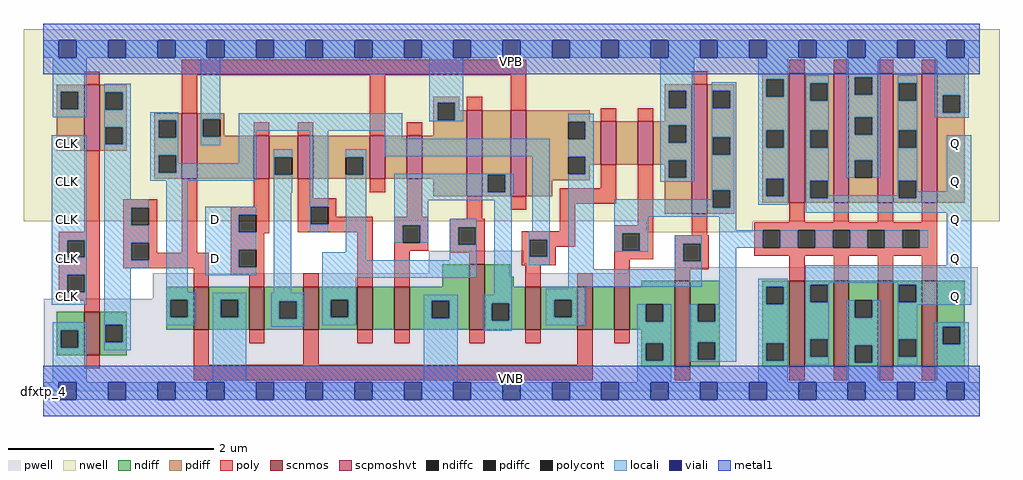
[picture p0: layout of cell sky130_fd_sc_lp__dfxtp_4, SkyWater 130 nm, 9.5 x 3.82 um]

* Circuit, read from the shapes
.subckt sky130_fd_sc_lp__dfxtp_4 CLK D VGND VNB VPB VPWR Q
XM1 n1 CLK VGND VNB sky130_fd_pr__nfet_01v8 w=0.42 l=0.15
XM2 VGND n1 n2 VNB sky130_fd_pr__nfet_01v8 w=0.42 l=0.15
XM3 n3 D VGND VNB sky130_fd_pr__nfet_01v8 w=0.42 l=0.15
XM4 n4 n1 n3 VNB sky130_fd_pr__nfet_01v8 w=0.42 l=0.15
XM5 n5 n2 n4 VNB sky130_fd_pr__nfet_01v8 w=0.42 l=0.15
XM6 VGND n6 n5 VNB sky130_fd_pr__nfet_01v8 w=0.42 l=0.15
XM7 n6 n4 VGND VNB sky130_fd_pr__nfet_01v8 w=0.64 l=0.15
XM8 n7 n2 n6 VNB sky130_fd_pr__nfet_01v8 w=0.42 l=0.15
XM9 n8 n1 n7 VNB sky130_fd_pr__nfet_01v8 w=0.42 l=0.15
XM10 VGND n9 n8 VNB sky130_fd_pr__nfet_01v8 w=0.42 l=0.15
XM11 n9 n7 VGND VNB sky130_fd_pr__nfet_01v8 w=0.84 l=0.15
XM12 Q n9 VGND VNB sky130_fd_pr__nfet_01v8 w=0.84 l=0.15 m=4
XM13 n1 CLK VPWR VPB sky130_fd_pr__pfet_01v8_hvt w=0.64 l=0.15
XM14 VPWR n1 n2 VPB sky130_fd_pr__pfet_01v8_hvt w=0.64 l=0.15
XM15 n3 D VPWR VPB sky130_fd_pr__pfet_01v8_hvt w=0.42 l=0.15
XM16 n4 n2 n3 VPB sky130_fd_pr__pfet_01v8_hvt w=0.42 l=0.15
XM17 n10 n1 n4 VPB sky130_fd_pr__pfet_01v8_hvt w=0.42 l=0.15
XM18 VPWR n6 n10 VPB sky130_fd_pr__pfet_01v8_hvt w=0.42 l=0.15
XM19 n6 n4 VPWR VPB sky130_fd_pr__pfet_01v8_hvt w=0.84 l=0.15
XM20 n7 n1 n6 VPB sky130_fd_pr__pfet_01v8_hvt w=0.84 l=0.15
XM21 n11 n2 n7 VPB sky130_fd_pr__pfet_01v8_hvt w=0.42 l=0.15
XM22 VPWR n9 n11 VPB sky130_fd_pr__pfet_01v8_hvt w=0.42 l=0.15
XM23 n9 n7 VPWR VPB sky130_fd_pr__pfet_01v8_hvt w=1.26 l=0.15
XM24 Q n9 VPWR VPB sky130_fd_pr__pfet_01v8_hvt w=1.26 l=0.15 m=4
.ends

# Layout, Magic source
magic
tech sky130A
magscale 1 2
<< nwell >>
rect -38 331 1862 704
rect 1174 309 1382 331
<< pwell >>
rect 751 249 936 273
rect 751 229 942 249
rect 1139 229 1820 241
rect 214 180 1820 229
rect 1 49 1820 180
rect 0 0 1824 49
<< scnmos >>
rect 80 70 110 154
rect 293 119 323 203
rect 401 119 431 203
rect 507 119 537 203
rect 612 119 642 203
rect 684 119 714 203
rect 830 119 860 247
rect 939 119 969 203
rect 1040 119 1070 203
rect 1112 119 1142 203
rect 1230 47 1260 215
rect 1453 47 1483 215
rect 1539 47 1569 215
rect 1625 47 1655 215
rect 1711 47 1741 215
<< scpmoshvt >>
rect 80 468 110 596
rect 270 413 300 541
rect 410 413 440 497
rect 496 413 526 497
rect 636 413 666 497
rect 708 413 738 497
rect 825 379 855 547
rect 911 379 941 547
rect 1086 441 1116 525
rect 1158 441 1188 525
rect 1263 345 1293 597
rect 1453 367 1483 619
rect 1539 367 1569 619
rect 1625 367 1655 619
rect 1711 367 1741 619
<< ndiff >>
rect 777 203 830 247
rect 240 178 293 203
rect 27 118 80 154
rect 27 84 35 118
rect 69 84 80 118
rect 27 70 80 84
rect 110 129 163 154
rect 110 95 121 129
rect 155 95 163 129
rect 240 144 248 178
rect 282 144 293 178
rect 240 119 293 144
rect 323 178 401 203
rect 323 144 346 178
rect 380 144 401 178
rect 323 119 401 144
rect 431 175 507 203
rect 431 141 460 175
rect 494 141 507 175
rect 431 119 507 141
rect 537 178 612 203
rect 537 144 560 178
rect 594 144 612 178
rect 537 119 612 144
rect 642 119 684 203
rect 714 176 830 203
rect 714 142 757 176
rect 791 142 830 176
rect 714 119 830 142
rect 860 223 910 247
rect 860 203 916 223
rect 1165 203 1230 215
rect 860 171 939 203
rect 860 137 874 171
rect 908 137 939 171
rect 860 119 939 137
rect 969 178 1040 203
rect 969 144 995 178
rect 1029 144 1040 178
rect 969 119 1040 144
rect 1070 119 1112 203
rect 1142 169 1230 203
rect 1142 135 1173 169
rect 1207 135 1230 169
rect 1142 119 1230 135
rect 110 70 163 95
rect 1165 93 1230 119
rect 1165 59 1173 93
rect 1207 59 1230 93
rect 1165 47 1230 59
rect 1260 169 1317 215
rect 1260 135 1275 169
rect 1309 135 1317 169
rect 1260 95 1317 135
rect 1260 61 1275 95
rect 1309 61 1317 95
rect 1260 47 1317 61
rect 1400 203 1453 215
rect 1400 169 1408 203
rect 1442 169 1453 203
rect 1400 93 1453 169
rect 1400 59 1408 93
rect 1442 59 1453 93
rect 1400 47 1453 59
rect 1483 207 1539 215
rect 1483 173 1494 207
rect 1528 173 1539 207
rect 1483 101 1539 173
rect 1483 67 1494 101
rect 1528 67 1539 101
rect 1483 47 1539 67
rect 1569 177 1625 215
rect 1569 143 1580 177
rect 1614 143 1625 177
rect 1569 89 1625 143
rect 1569 55 1580 89
rect 1614 55 1625 89
rect 1569 47 1625 55
rect 1655 207 1711 215
rect 1655 173 1666 207
rect 1700 173 1711 207
rect 1655 101 1711 173
rect 1655 67 1666 101
rect 1700 67 1711 101
rect 1655 47 1711 67
rect 1741 125 1794 215
rect 1741 91 1752 125
rect 1786 91 1794 125
rect 1741 47 1794 91
<< pdiff >>
rect 27 583 80 596
rect 27 549 35 583
rect 69 549 80 583
rect 27 468 80 549
rect 110 582 163 596
rect 110 548 121 582
rect 155 548 163 582
rect 110 514 163 548
rect 110 480 121 514
rect 155 480 163 514
rect 110 468 163 480
rect 217 527 270 541
rect 217 493 225 527
rect 259 493 270 527
rect 217 459 270 493
rect 217 425 225 459
rect 259 425 270 459
rect 217 413 270 425
rect 300 529 353 541
rect 300 495 311 529
rect 345 497 353 529
rect 760 561 810 573
rect 760 527 768 561
rect 802 547 810 561
rect 1400 607 1453 619
rect 1210 585 1263 597
rect 1210 551 1218 585
rect 1252 551 1263 585
rect 802 527 825 547
rect 760 497 825 527
rect 345 495 410 497
rect 300 413 410 495
rect 440 455 496 497
rect 440 421 451 455
rect 485 421 496 455
rect 440 413 496 421
rect 526 455 636 497
rect 526 421 589 455
rect 623 421 636 455
rect 526 413 636 421
rect 666 413 708 497
rect 738 413 825 497
rect 760 379 825 413
rect 855 421 911 547
rect 855 387 866 421
rect 900 387 911 421
rect 855 379 911 387
rect 941 525 1064 547
rect 1210 525 1263 551
rect 941 524 1086 525
rect 941 490 1022 524
rect 1056 490 1086 524
rect 941 456 1086 490
rect 941 422 1022 456
rect 1056 441 1086 456
rect 1116 441 1158 525
rect 1188 517 1263 525
rect 1188 483 1218 517
rect 1252 483 1263 517
rect 1188 449 1263 483
rect 1188 441 1218 449
rect 1056 422 1064 441
rect 941 410 1064 422
rect 941 379 991 410
rect 1210 415 1218 441
rect 1252 415 1263 449
rect 1210 345 1263 415
rect 1293 585 1346 597
rect 1293 551 1304 585
rect 1338 551 1346 585
rect 1293 494 1346 551
rect 1293 460 1304 494
rect 1338 460 1346 494
rect 1293 391 1346 460
rect 1293 357 1304 391
rect 1338 357 1346 391
rect 1400 573 1408 607
rect 1442 573 1453 607
rect 1400 508 1453 573
rect 1400 474 1408 508
rect 1442 474 1453 508
rect 1400 413 1453 474
rect 1400 379 1408 413
rect 1442 379 1453 413
rect 1400 367 1453 379
rect 1483 599 1539 619
rect 1483 565 1494 599
rect 1528 565 1539 599
rect 1483 508 1539 565
rect 1483 474 1494 508
rect 1528 474 1539 508
rect 1483 409 1539 474
rect 1483 375 1494 409
rect 1528 375 1539 409
rect 1483 367 1539 375
rect 1569 611 1625 619
rect 1569 577 1580 611
rect 1614 577 1625 611
rect 1569 533 1625 577
rect 1569 499 1580 533
rect 1614 499 1625 533
rect 1569 449 1625 499
rect 1569 415 1580 449
rect 1614 415 1625 449
rect 1569 367 1625 415
rect 1655 599 1711 619
rect 1655 565 1666 599
rect 1700 565 1711 599
rect 1655 508 1711 565
rect 1655 474 1666 508
rect 1700 474 1711 508
rect 1655 409 1711 474
rect 1655 375 1666 409
rect 1700 375 1711 409
rect 1655 367 1711 375
rect 1741 576 1794 619
rect 1741 542 1752 576
rect 1786 542 1794 576
rect 1741 367 1794 542
rect 1293 345 1346 357
<< ndiffc >>
rect 35 84 69 118
rect 121 95 155 129
rect 248 144 282 178
rect 346 144 380 178
rect 460 141 494 175
rect 560 144 594 178
rect 757 142 791 176
rect 874 137 908 171
rect 995 144 1029 178
rect 1173 135 1207 169
rect 1173 59 1207 93
rect 1275 135 1309 169
rect 1275 61 1309 95
rect 1408 169 1442 203
rect 1408 59 1442 93
rect 1494 173 1528 207
rect 1494 67 1528 101
rect 1580 143 1614 177
rect 1580 55 1614 89
rect 1666 173 1700 207
rect 1666 67 1700 101
rect 1752 91 1786 125
<< pdiffc >>
rect 35 549 69 583
rect 121 548 155 582
rect 121 480 155 514
rect 225 493 259 527
rect 225 425 259 459
rect 311 495 345 529
rect 768 527 802 561
rect 1218 551 1252 585
rect 451 421 485 455
rect 589 421 623 455
rect 866 387 900 421
rect 1022 490 1056 524
rect 1022 422 1056 456
rect 1218 483 1252 517
rect 1218 415 1252 449
rect 1304 551 1338 585
rect 1304 460 1338 494
rect 1304 357 1338 391
rect 1408 573 1442 607
rect 1408 474 1442 508
rect 1408 379 1442 413
rect 1494 565 1528 599
rect 1494 474 1528 508
rect 1494 375 1528 409
rect 1580 577 1614 611
rect 1580 499 1614 533
rect 1580 415 1614 449
rect 1666 565 1700 599
rect 1666 474 1700 508
rect 1666 375 1700 409
rect 1752 542 1786 576
<< poly >>
rect 80 596 110 622
rect 270 615 941 645
rect 270 541 300 615
rect 80 310 110 468
rect 410 497 440 523
rect 496 497 526 523
rect 636 497 666 615
rect 825 547 855 573
rect 911 547 941 615
rect 1263 597 1293 623
rect 1453 619 1483 645
rect 1539 619 1569 645
rect 1625 619 1655 645
rect 1711 619 1741 645
rect 708 497 738 523
rect 31 294 110 310
rect 31 260 47 294
rect 81 260 110 294
rect 31 226 110 260
rect 156 357 222 373
rect 156 323 172 357
rect 206 323 222 357
rect 156 289 222 323
rect 156 255 172 289
rect 206 269 222 289
rect 270 269 300 413
rect 410 359 440 413
rect 365 343 440 359
rect 365 309 381 343
rect 415 309 440 343
rect 496 375 526 413
rect 636 387 666 413
rect 496 359 571 375
rect 496 325 521 359
rect 555 339 571 359
rect 708 339 738 413
rect 1086 525 1116 551
rect 1158 525 1188 551
rect 1086 395 1116 441
rect 555 325 642 339
rect 496 309 642 325
rect 365 307 440 309
rect 365 275 431 307
rect 206 255 323 269
rect 156 239 323 255
rect 31 192 47 226
rect 81 192 110 226
rect 293 203 323 239
rect 365 241 381 275
rect 415 241 431 275
rect 365 225 431 241
rect 401 203 431 225
rect 507 203 537 229
rect 612 203 642 309
rect 684 323 750 339
rect 825 335 855 379
rect 911 353 941 379
rect 1006 365 1116 395
rect 684 289 700 323
rect 734 289 750 323
rect 684 273 750 289
rect 792 319 860 335
rect 792 285 808 319
rect 842 285 860 319
rect 1006 311 1036 365
rect 1158 323 1188 441
rect 684 203 714 273
rect 792 269 860 285
rect 830 247 860 269
rect 932 295 1036 311
rect 932 261 948 295
rect 982 281 1036 295
rect 1112 307 1188 323
rect 982 261 998 281
rect 31 176 110 192
rect 80 154 110 176
rect 932 245 998 261
rect 1112 273 1128 307
rect 1162 273 1188 307
rect 1263 303 1293 345
rect 1453 329 1483 367
rect 1539 329 1569 367
rect 1625 329 1655 367
rect 1711 329 1741 367
rect 1385 313 1741 329
rect 1112 257 1188 273
rect 1230 287 1296 303
rect 939 203 969 245
rect 1040 203 1070 229
rect 1112 203 1142 257
rect 1230 253 1246 287
rect 1280 253 1296 287
rect 1385 279 1401 313
rect 1435 279 1469 313
rect 1503 279 1537 313
rect 1571 279 1605 313
rect 1639 279 1673 313
rect 1707 279 1741 313
rect 1385 263 1741 279
rect 1230 237 1296 253
rect 1230 215 1260 237
rect 1453 215 1483 263
rect 1539 215 1569 263
rect 1625 215 1655 263
rect 1711 215 1741 263
rect 80 44 110 70
rect 293 51 323 119
rect 401 93 431 119
rect 507 51 537 119
rect 612 93 642 119
rect 684 93 714 119
rect 830 93 860 119
rect 939 93 969 119
rect 1040 51 1070 119
rect 1112 93 1142 119
rect 293 21 1070 51
rect 1230 21 1260 47
rect 1453 21 1483 47
rect 1539 21 1569 47
rect 1625 21 1655 47
rect 1711 21 1741 47
<< polycont >>
rect 47 260 81 294
rect 172 323 206 357
rect 172 255 206 289
rect 381 309 415 343
rect 521 325 555 359
rect 47 192 81 226
rect 381 241 415 275
rect 700 289 734 323
rect 808 285 842 319
rect 948 261 982 295
rect 1128 273 1162 307
rect 1246 253 1280 287
rect 1401 279 1435 313
rect 1469 279 1503 313
rect 1537 279 1571 313
rect 1605 279 1639 313
rect 1673 279 1707 313
<< locali >>
rect 0 649 31 683
rect 65 649 127 683
rect 161 649 223 683
rect 257 649 319 683
rect 353 649 415 683
rect 449 649 511 683
rect 545 649 607 683
rect 641 649 703 683
rect 737 649 799 683
rect 833 649 895 683
rect 929 649 991 683
rect 1025 649 1087 683
rect 1121 649 1183 683
rect 1217 649 1279 683
rect 1313 649 1375 683
rect 1409 649 1471 683
rect 1505 649 1567 683
rect 1601 649 1663 683
rect 1697 649 1759 683
rect 1793 649 1824 683
rect 19 583 85 649
rect 19 549 35 583
rect 69 549 85 583
rect 19 533 85 549
rect 119 582 171 598
rect 119 548 121 582
rect 155 548 171 582
rect 119 514 171 548
rect 17 294 85 498
rect 17 260 47 294
rect 81 260 85 294
rect 17 226 85 260
rect 17 192 47 226
rect 81 192 85 226
rect 17 168 85 192
rect 119 480 121 514
rect 155 480 171 514
rect 119 373 171 480
rect 209 527 263 543
rect 209 493 225 527
rect 259 493 263 527
rect 209 459 263 493
rect 307 529 345 649
rect 752 561 818 649
rect 307 495 311 529
rect 307 479 345 495
rect 381 507 699 541
rect 752 527 768 561
rect 802 527 818 561
rect 1202 585 1268 649
rect 1392 607 1451 649
rect 1202 551 1218 585
rect 1252 551 1268 585
rect 752 525 818 527
rect 209 425 225 459
rect 259 443 263 459
rect 381 443 415 507
rect 259 425 415 443
rect 209 409 415 425
rect 449 455 485 471
rect 449 421 451 455
rect 119 357 206 373
rect 119 323 172 357
rect 119 289 206 323
rect 119 255 172 289
rect 119 239 206 255
rect 19 118 85 134
rect 19 84 35 118
rect 69 84 85 118
rect 19 17 85 84
rect 119 129 171 239
rect 119 95 121 129
rect 155 95 171 129
rect 240 192 282 409
rect 449 386 485 421
rect 316 343 415 359
rect 316 309 381 343
rect 316 275 415 309
rect 316 241 381 275
rect 316 225 415 241
rect 240 178 296 192
rect 449 191 483 386
rect 519 359 555 507
rect 665 491 699 507
rect 1022 524 1072 540
rect 519 325 521 359
rect 519 309 555 325
rect 589 455 629 471
rect 665 457 986 491
rect 623 421 629 455
rect 589 270 629 421
rect 684 421 916 423
rect 684 387 866 421
rect 900 387 916 421
rect 684 383 916 387
rect 684 371 912 383
rect 684 323 750 371
rect 684 289 700 323
rect 734 289 750 323
rect 792 319 844 335
rect 544 255 629 270
rect 792 285 808 319
rect 842 285 844 319
rect 792 255 844 285
rect 544 221 844 255
rect 240 144 248 178
rect 282 144 296 178
rect 240 128 296 144
rect 330 178 396 191
rect 330 144 346 178
rect 380 144 396 178
rect 119 79 171 95
rect 330 17 396 144
rect 444 175 510 191
rect 444 141 460 175
rect 494 141 510 175
rect 444 125 510 141
rect 544 178 610 221
rect 878 187 912 371
rect 952 311 986 457
rect 946 295 986 311
rect 946 261 948 295
rect 982 261 986 295
rect 946 245 986 261
rect 1056 490 1072 524
rect 1022 456 1072 490
rect 1056 422 1072 456
rect 1022 237 1072 422
rect 1202 517 1268 551
rect 1202 483 1218 517
rect 1252 483 1268 517
rect 1202 449 1268 483
rect 1202 415 1218 449
rect 1252 415 1268 449
rect 1202 407 1268 415
rect 1302 585 1350 601
rect 1302 551 1304 585
rect 1338 551 1350 585
rect 1302 494 1350 551
rect 1302 460 1304 494
rect 1338 460 1350 494
rect 1302 391 1350 460
rect 1302 373 1304 391
rect 1112 357 1304 373
rect 1338 357 1350 391
rect 1392 573 1408 607
rect 1442 573 1451 607
rect 1392 508 1451 573
rect 1392 474 1408 508
rect 1442 474 1451 508
rect 1392 413 1451 474
rect 1392 379 1408 413
rect 1442 379 1451 413
rect 1392 363 1451 379
rect 1485 599 1530 615
rect 1485 565 1494 599
rect 1528 565 1530 599
rect 1485 508 1530 565
rect 1485 474 1494 508
rect 1528 474 1530 508
rect 1485 409 1530 474
rect 1564 611 1630 649
rect 1564 577 1580 611
rect 1614 577 1630 611
rect 1564 533 1630 577
rect 1564 499 1580 533
rect 1614 499 1630 533
rect 1564 449 1630 499
rect 1564 415 1580 449
rect 1614 415 1630 449
rect 1664 599 1702 615
rect 1664 565 1666 599
rect 1700 565 1702 599
rect 1664 508 1702 565
rect 1736 576 1802 649
rect 1736 542 1752 576
rect 1786 542 1802 576
rect 1736 532 1802 542
rect 1664 474 1666 508
rect 1700 474 1702 508
rect 1485 375 1494 409
rect 1528 381 1530 409
rect 1664 409 1702 474
rect 1664 381 1666 409
rect 1528 375 1666 381
rect 1700 389 1702 409
rect 1759 389 1807 498
rect 1700 375 1807 389
rect 1112 339 1350 357
rect 1485 347 1807 375
rect 1112 307 1178 339
rect 1112 273 1128 307
rect 1162 273 1178 307
rect 1316 313 1350 339
rect 1112 271 1178 273
rect 1230 287 1282 303
rect 1230 253 1246 287
rect 1280 253 1282 287
rect 1230 237 1282 253
rect 1022 203 1282 237
rect 1316 279 1401 313
rect 1435 279 1469 313
rect 1503 279 1537 313
rect 1571 279 1605 313
rect 1639 279 1673 313
rect 1707 279 1723 313
rect 1022 199 1056 203
rect 544 144 560 178
rect 594 144 610 178
rect 544 128 610 144
rect 741 176 807 187
rect 741 142 757 176
rect 791 142 807 176
rect 741 17 807 142
rect 858 171 912 187
rect 858 137 874 171
rect 908 137 912 171
rect 858 117 912 137
rect 979 178 1056 199
rect 979 144 995 178
rect 1029 144 1056 178
rect 1316 169 1350 279
rect 1759 245 1807 347
rect 979 128 1056 144
rect 1157 135 1173 169
rect 1207 135 1223 169
rect 1157 93 1223 135
rect 1157 59 1173 93
rect 1207 59 1223 93
rect 1157 17 1223 59
rect 1259 135 1275 169
rect 1309 135 1350 169
rect 1259 95 1350 135
rect 1259 61 1275 95
rect 1309 61 1350 95
rect 1259 57 1350 61
rect 1392 203 1450 219
rect 1392 169 1408 203
rect 1442 169 1450 203
rect 1392 93 1450 169
rect 1392 59 1408 93
rect 1442 59 1450 93
rect 1392 17 1450 59
rect 1484 211 1807 245
rect 1484 207 1530 211
rect 1484 173 1494 207
rect 1528 173 1530 207
rect 1664 207 1807 211
rect 1484 101 1530 173
rect 1484 67 1494 101
rect 1528 67 1530 101
rect 1484 51 1530 67
rect 1564 143 1580 177
rect 1614 143 1630 177
rect 1564 89 1630 143
rect 1564 55 1580 89
rect 1614 55 1630 89
rect 1564 17 1630 55
rect 1664 173 1666 207
rect 1700 173 1807 207
rect 1664 168 1807 173
rect 1664 101 1702 168
rect 1664 67 1666 101
rect 1700 67 1702 101
rect 1664 51 1702 67
rect 1736 125 1802 134
rect 1736 91 1752 125
rect 1786 91 1802 125
rect 1736 17 1802 91
rect 0 -17 31 17
rect 65 -17 127 17
rect 161 -17 223 17
rect 257 -17 319 17
rect 353 -17 415 17
rect 449 -17 511 17
rect 545 -17 607 17
rect 641 -17 703 17
rect 737 -17 799 17
rect 833 -17 895 17
rect 929 -17 991 17
rect 1025 -17 1087 17
rect 1121 -17 1183 17
rect 1217 -17 1279 17
rect 1313 -17 1375 17
rect 1409 -17 1471 17
rect 1505 -17 1567 17
rect 1601 -17 1663 17
rect 1697 -17 1759 17
rect 1793 -17 1824 17
<< viali >>
rect 31 649 65 683
rect 127 649 161 683
rect 223 649 257 683
rect 319 649 353 683
rect 415 649 449 683
rect 511 649 545 683
rect 607 649 641 683
rect 703 649 737 683
rect 799 649 833 683
rect 895 649 929 683
rect 991 649 1025 683
rect 1087 649 1121 683
rect 1183 649 1217 683
rect 1279 649 1313 683
rect 1375 649 1409 683
rect 1471 649 1505 683
rect 1567 649 1601 683
rect 1663 649 1697 683
rect 1759 649 1793 683
rect 31 -17 65 17
rect 127 -17 161 17
rect 223 -17 257 17
rect 319 -17 353 17
rect 415 -17 449 17
rect 511 -17 545 17
rect 607 -17 641 17
rect 703 -17 737 17
rect 799 -17 833 17
rect 895 -17 929 17
rect 991 -17 1025 17
rect 1087 -17 1121 17
rect 1183 -17 1217 17
rect 1279 -17 1313 17
rect 1375 -17 1409 17
rect 1471 -17 1505 17
rect 1567 -17 1601 17
rect 1663 -17 1697 17
rect 1759 -17 1793 17
<< metal1 >>
rect 0 683 1824 715
rect 0 649 31 683
rect 65 649 127 683
rect 161 649 223 683
rect 257 649 319 683
rect 353 649 415 683
rect 449 649 511 683
rect 545 649 607 683
rect 641 649 703 683
rect 737 649 799 683
rect 833 649 895 683
rect 929 649 991 683
rect 1025 649 1087 683
rect 1121 649 1183 683
rect 1217 649 1279 683
rect 1313 649 1375 683
rect 1409 649 1471 683
rect 1505 649 1567 683
rect 1601 649 1663 683
rect 1697 649 1759 683
rect 1793 649 1824 683
rect 0 617 1824 649
rect 0 17 1824 49
rect 0 -17 31 17
rect 65 -17 127 17
rect 161 -17 223 17
rect 257 -17 319 17
rect 353 -17 415 17
rect 449 -17 511 17
rect 545 -17 607 17
rect 641 -17 703 17
rect 737 -17 799 17
rect 833 -17 895 17
rect 929 -17 991 17
rect 1025 -17 1087 17
rect 1121 -17 1183 17
rect 1217 -17 1279 17
rect 1313 -17 1375 17
rect 1409 -17 1471 17
rect 1505 -17 1567 17
rect 1601 -17 1663 17
rect 1697 -17 1759 17
rect 1793 -17 1824 17
rect 0 -49 1824 -17
<< labels >>
flabel pwell s 0 0 1824 49 0 FreeSans 200 0 0 0 VNB
port 4 nsew ground bidirectional
flabel nwell s 0 617 1824 666 0 FreeSans 200 0 0 0 VPB
port 5 nsew power bidirectional
rlabel comment s 0 0 0 0 4 dfxtp_4
flabel metal1 s 0 617 1824 666 0 FreeSans 340 0 0 0 VPWR
port 6 nsew power bidirectional
flabel metal1 s 0 0 1824 49 0 FreeSans 340 0 0 0 VGND
port 3 nsew ground bidirectional
flabel locali s 1759 168 1793 202 0 FreeSans 340 0 0 0 Q
port 7 nsew signal output
flabel locali s 1759 242 1793 276 0 FreeSans 340 0 0 0 Q
port 7 nsew signal output
flabel locali s 1759 316 1793 350 0 FreeSans 340 0 0 0 Q
port 7 nsew signal output
flabel locali s 1759 390 1793 424 0 FreeSans 340 0 0 0 Q
port 7 nsew signal output
flabel locali s 1759 464 1793 498 0 FreeSans 340 0 0 0 Q
port 7 nsew signal output
flabel locali s 31 168 65 202 0 FreeSans 340 0 0 0 CLK
port 1 nsew clock input
flabel locali s 31 242 65 276 0 FreeSans 340 0 0 0 CLK
port 1 nsew clock input
flabel locali s 31 316 65 350 0 FreeSans 340 0 0 0 CLK
port 1 nsew clock input
flabel locali s 31 390 65 424 0 FreeSans 340 0 0 0 CLK
port 1 nsew clock input
flabel locali s 31 464 65 498 0 FreeSans 340 0 0 0 CLK
port 1 nsew clock input
flabel locali s 319 242 353 276 0 FreeSans 340 0 0 0 D
port 2 nsew signal input
flabel locali s 319 316 353 350 0 FreeSans 340 0 0 0 D
port 2 nsew signal input
<< properties >>
string LEFsite unit
string LEFclass CORE
string FIXED_BBOX 0 0 1824 666
string GDS_FILE $PDKPATH/libs.ref/sky130_fd_sc_lp/gds/sky130_fd_sc_lp.gds
string LEFsymmetry X Y R90
string GDS_END 989790
string GDS_START 975630
<< end >>
